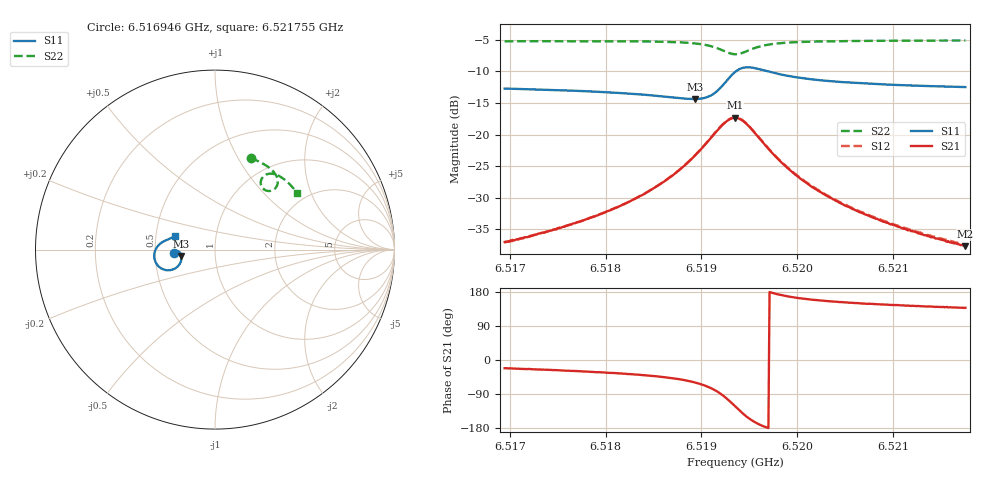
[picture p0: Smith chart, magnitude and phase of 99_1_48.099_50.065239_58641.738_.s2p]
#  HZ  S  RI  R  50.00
! Rohde & Schwarz Vector Network Analyzer
! Rohde-Schwarz,ZNB20-2Port,1311601062101988,3.16
! Created: UTC 12/23/2023, 3:44:33 AM
! freq[Hz]  re:S11  im:S11  re:S21  im:S21  re:S12  im:S12  re:S22  im:S22
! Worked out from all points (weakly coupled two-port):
!   401 points, 6.516946 GHz to 6.521755 GHz, reference 50 ohm
!   highest |S21| = -17.35 dB at 6.51935 GHz (marker M1); lowest = -37.7 dB at 6.521755 GHz (marker M2)
!   lowest |S11| = -14.4 dB at 6.51893 GHz (marker M3), VSWR 1.47, Z = 34.1 - j2.51 ohm
!   |S11| at or under -10 dB: start of sweep to 6.519359 GHz; 6.519696 GHz to end of sweep
!   |S22| runs from -7.3 to -5.1 dB; largest |S21 - S12| = 0.004
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6.516946e9  -0.2308 -0.0183  0.0131 -0.0052  0.0132 -0.00475  0.1996 0.5106
6.5173908e9  -0.2261 -0.0118  0.0154 -0.00742  0.0155 -0.00695  0.2324 0.497
6.5177515e9  -0.2209 -0.00753  0.0178 -0.0103  0.0183 -0.00981  0.2593 0.4834
6.5182323e9  -0.2113 -0.00537  0.0232 -0.0175  0.0238 -0.0167  0.2955 0.461
6.5185569e9  -0.2016 -0.0096  0.0287 -0.0275  0.0296 -0.0267  0.3205 0.4395
6.5187493e9  -0.1943 -0.0181  0.0327 -0.0391  0.034 -0.0382  0.3355 0.4217
6.5189296e9  -0.1878 -0.0355  0.0348 -0.058  0.0369 -0.0574  0.3471 0.3971
6.5190378e9  -0.1877 -0.0548  0.0316 -0.0767  0.0341 -0.0763  0.3499 0.3761
6.519122e9  -0.1946 -0.0761  0.022 -0.0961  0.0251 -0.096  0.3451 0.3559
6.5192542e9  -0.2366 -0.1114  -0.021 -0.1242  -0.0175 -0.1257  0.3128 0.3279
6.5193023e9  -0.264 -0.1152  -0.0461 -0.1247  -0.0428 -0.127  0.2931 0.3269
6.5193504e9  -0.2934 -0.1078  -0.0716 -0.1153  -0.0689 -0.1182  0.2738 0.3349
6.5193985e9  -0.318 -0.0895  -0.0916 -0.0965  -0.0896 -0.0999  0.26 0.3506
6.5194586e9  -0.3354 -0.0585  -0.1036 -0.0677  -0.1023 -0.0712  0.2546 0.3745
6.5195548e9  -0.3359 -0.0136  -0.0992 -0.0292  -0.0992 -0.0322  0.2669 0.4042
6.519663e9  -0.3204 0.0175  -0.0825 -0.00494  -0.0831 -0.00743  0.2893 0.4196
6.5199034e9  -0.2882 0.0446  -0.0527 0.0114  -0.0536 0.00994  0.3305 0.4209
6.5201559e9  -0.2681 0.0542  -0.0358 0.0137  -0.0368 0.0128  0.3592 0.4092
6.5205045e9  -0.252 0.0608  -0.0241 0.0127  -0.0248 0.0124  0.3882 0.3898
6.5209613e9  -0.2392 0.0675  -0.0162 0.0111  -0.0168 0.0108  0.4175 0.3629
6.5213821e9  -0.2307 0.0734  -0.0121 0.00973  -0.0126 0.00969  0.4407 0.3374
6.5217548e9  -0.2243 0.0786  -0.00966 0.00878  -0.0101 0.00884  0.4589 0.3143
